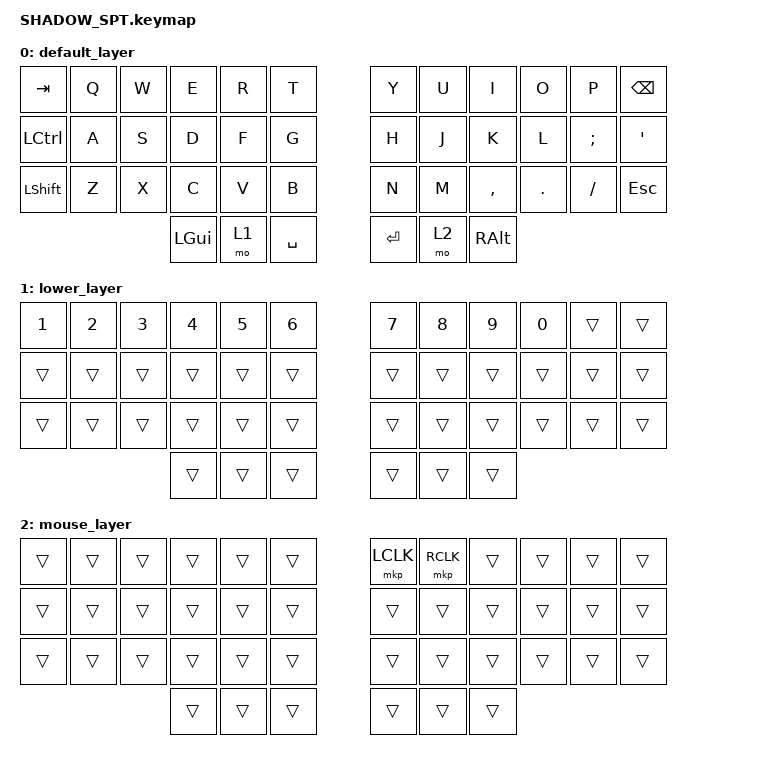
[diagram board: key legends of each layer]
/* project_ascend.keymap */
#include <behaviors.dtsi>
#include <dt-bindings/zmk/keys.h>
#include <dt-bindings/zmk/bt.h>
#include <dt-bindings/zmk/mouse.h>

/ {
    keymap {
        compatible = "zmk,keymap";

        default_layer {
            bindings = <
    &kp TAB   &kp Q  &kp W  &kp E  &kp R  &kp T       &kp Y  &kp U  &kp I  &kp O  &kp P     &kp BSPC
    &kp LCTRL &kp A  &kp S  &kp D  &kp F  &kp G       &kp H  &kp J  &kp K  &kp L  &kp SEMI  &kp SQT
    &kp LSHFT &kp Z  &kp X  &kp C  &kp V  &kp B       &kp N  &kp M  &kp COMMA &kp DOT &kp FSLH &kp ESC
                            &kp LGUI &mo 1 &kp SPACE  &kp ENTER &mo 2 &kp RALT
            >;
        };

        lower_layer {
            bindings = <
    &kp N1    &kp N2 &kp N3 &kp N4 &kp N5 &kp N6      &kp N7 &kp N8 &kp N9 &kp N0 &trans &trans
    &trans    &trans &trans &trans &trans &trans      &trans &trans &trans &trans &trans &trans
    &trans    &trans &trans &trans &trans &trans      &trans &trans &trans &trans &trans &trans
                            &trans &trans &trans      &trans &trans &trans
            >;
        };
        
        mouse_layer {
            bindings = <
    &trans    &trans &trans &trans &trans &trans      &mkp LCLK &mkp RCLK &trans &trans &trans &trans
    &trans    &trans &trans &trans &trans &trans      &trans    &trans    &trans &trans &trans &trans
    &trans    &trans &trans &trans &trans &trans      &trans    &trans    &trans &trans &trans &trans
                            &trans &trans &trans      &trans    &trans    &trans
            >;
        };
    };
};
